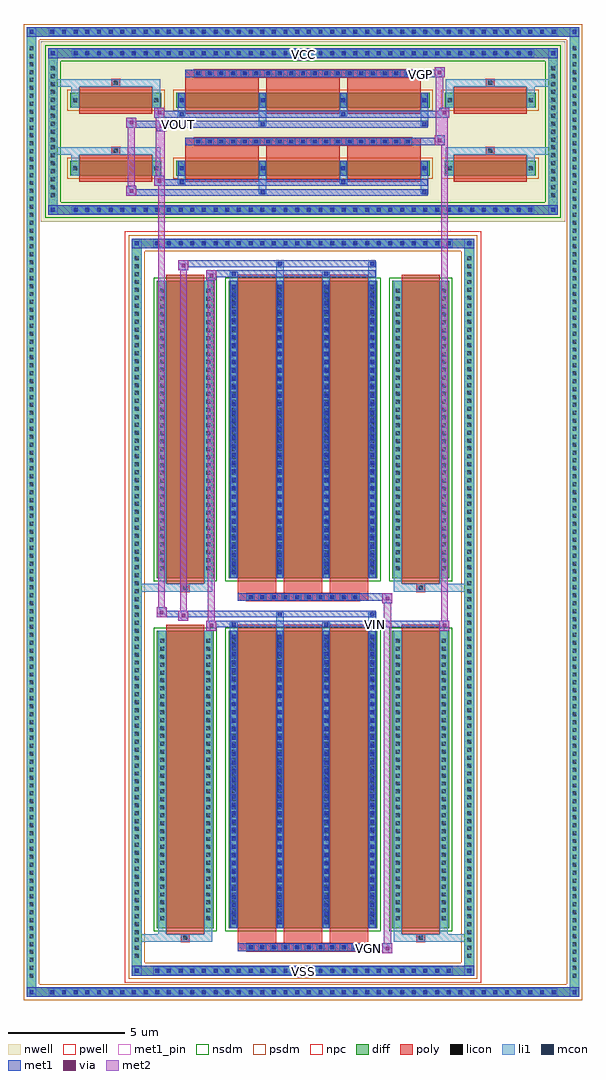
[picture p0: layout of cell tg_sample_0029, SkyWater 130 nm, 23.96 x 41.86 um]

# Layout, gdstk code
import gdstk
lib = gdstk.Library(unit=1e-6, precision=5e-09)
def R(c, l, rs):  # rectangles x0, y0, x1, y1
    for r in rs: c.add(gdstk.rectangle(r[:2], r[2:], *l))
def A(c, l, x, y, w, h, nx, ny, dx, dy):  # array of equal rectangles
    R(c, l, [(x+i*dx, y+j*dy, x+i*dx+w, y+j*dy+h) for i in range(nx) for j in range(ny)])
def P(c, l, *ps):  # polygons
    for p in ps: c.add(gdstk.Polygon(p, *l))
nwell = (64, 20)
pwell = (64, 44)
diff = (65, 20)
poly = (66, 20)
licon = (66, 44)
li1 = (67, 20)
mcon = (67, 44)
met1_pin = (68, 16)
met1 = (68, 20)
via = (68, 44)
met2 = (69, 20)
nsdm = (93, 44)
psdm = (94, 20)
npc = (95, 20)

tg_sample_0029 = lib.new_cell('tg_sample_0029')
R(tg_sample_0029, nwell, [(-11.24,16.515,11.24,24.265)])
R(tg_sample_0029, pwell, [(-7.645,-16.115,7.645,16.115)])
A(tg_sample_0029, diff, -10.955, -16.725, 0.41, 0.41, 44, 2, 0.5, 41.19)
A(tg_sample_0029, diff, -11.85, -16.02, 0.41, 0.41, 1, 118, 0, 0.34)
A(tg_sample_0029, diff, 11.44, -16.02, 0.41, 0.41, 1, 118, 0, 0.34)
A(tg_sample_0029, diff, -6.455, -15.805, 0.41, 0.41, 26, 2, 0.5, 31.2)
A(tg_sample_0029, diff, -7.335, -15.165, 0.41, 0.41, 1, 89, 0, 0.34)
A(tg_sample_0029, diff, 6.925, -15.165, 0.41, 0.41, 1, 89, 0, 0.34)
A(tg_sample_0029, diff, -9.955, 16.825, 0.41, 0.41, 40, 2, 0.5, 6.72)
A(tg_sample_0029, diff, -10.93, 17.465, 0.41, 0.41, 1, 17, 0, 0.34)
A(tg_sample_0029, diff, 10.52, 17.465, 0.41, 0.41, 1, 17, 0, 0.34)
R(tg_sample_0029, diff, [(-10.955,-16.725,10.955,-16.315), (-11.85,-16.02,-11.44,24.17), (11.44,-16.02,11.85,24.17), (-6.455,-15.805,6.455,-15.395), (-7.335,-15.165,-6.925,15.165), (6.925,-15.165,7.335,15.165), (-6.265,-13.78,-3.835,-1.02), (-3.195,-13.78,3.195,-1.02), (3.835,-13.78,6.265,-1.02), (-6.265,1.24,-3.835,14), (-3.195,1.24,3.195,14), (3.835,1.24,6.265,14), (-6.455,15.395,6.455,15.805), (-9.955,16.825,9.955,17.235), (-10.93,17.465,-10.52,23.315), (10.52,17.465,10.93,23.315), (-9.99,18.5,-6.07,19.14), (-5.43,18.5,5.43,19.14), (6.07,18.5,9.99,19.14), (-9.99,21.42,-6.07,22.06), (-5.43,21.42,5.43,22.06), (6.07,21.42,9.99,22.06), (-9.955,23.545,9.955,23.955), (-10.955,24.465,10.955,24.875)])
P(tg_sample_0029, diff, [(7.335,15.805),(-7.335,15.805),(-7.335,-15.395),(-6.925,-15.395),(-6.925,15.395),(6.925,15.395),(6.925,-15.395),(-6.925,-15.395),(-7.335,-15.395),(-7.335,-15.805),(7.335,-15.805)],
  [(11.85,24.875),(-11.85,24.875),(-11.85,-16.315),(-11.44,-16.315),(-11.44,24.465),(11.44,24.465),(11.44,-16.315),(-11.44,-16.315),(-11.85,-16.315),(-11.85,-16.725),(11.85,-16.725)],
  [(10.93,16.825),(-10.93,16.825),(-10.93,23.545),(-10.52,23.545),(-10.52,17.235),(10.52,17.235),(10.52,23.545),(-10.52,23.545),(-10.93,23.545),(-10.93,23.955),(10.93,23.955)])
A(tg_sample_0029, poly, -2.415, -14.76, 0.33, 0.33, 10, 2, 0.5, 15.02)
A(tg_sample_0029, poly, -2.805, -14.43, 1.65, 0.4, 3, 2, 1.98, 15.02)
A(tg_sample_0029, poly, -2.805, -14.03, 1.65, 13.26, 3, 2, 1.98, 15.02)
A(tg_sample_0029, poly, -5.04, 18.245, 3.14, 1.15, 3, 2, 3.47, 2.92)
A(tg_sample_0029, poly, -5.04, 19.395, 3.14, 0.405, 3, 2, 3.47, 2.92)
A(tg_sample_0029, poly, -4.665, 19.8, 0.33, 0.33, 19, 2, 0.5, 2.92)
R(tg_sample_0029, poly, [(-2.805,-14.76,2.805,-14.43), (-5.215,-14.36,-4.885,-14.03), (-5.215,-14.36,-4.885,-14.03), (4.885,-14.36,5.215,-14.03), (4.885,-14.36,5.215,-14.03), (-5.875,-14.03,-4.225,-0.77), (4.225,-14.03,5.875,-0.77), (-2.805,0.26,2.805,0.59), (-5.215,0.66,-4.885,0.99), (-5.215,0.66,-4.885,0.99), (4.885,0.66,5.215,0.99), (4.885,0.66,5.215,0.99), (-5.875,0.99,-4.225,14.25), (4.225,0.99,5.875,14.25), (-9.6,18.245,-6.46,19.395), (6.46,18.245,9.6,19.395), (-8.195,19.395,-7.865,19.725), (-8.195,19.395,-7.865,19.725), (7.865,19.395,8.195,19.725), (7.865,19.395,8.195,19.725), (-5.04,19.8,5.04,20.13), (-9.6,21.165,-6.46,22.315), (6.46,21.165,9.6,22.315), (-8.195,22.315,-7.865,22.645), (-8.195,22.315,-7.865,22.645), (7.865,22.315,8.195,22.645), (7.865,22.315,8.195,22.645), (-5.04,22.72,5.04,23.05)])
A(tg_sample_0029, licon, -10.835, -16.605, 0.17, 0.17, 44, 2, 0.5, 41.19)
A(tg_sample_0029, licon, -11.73, -15.9, 0.17, 0.17, 1, 118, 0, 0.34)
A(tg_sample_0029, licon, 11.56, -15.9, 0.17, 0.17, 1, 118, 0, 0.34)
A(tg_sample_0029, licon, -6.335, -15.685, 0.17, 0.17, 26, 2, 0.5, 31.2)
A(tg_sample_0029, licon, -7.215, -15.045, 0.17, 0.17, 1, 89, 0, 0.34)
A(tg_sample_0029, licon, 7.045, -15.045, 0.17, 0.17, 1, 89, 0, 0.34)
A(tg_sample_0029, licon, -2.335, -14.68, 0.17, 0.17, 10, 2, 0.5, 15.02)
A(tg_sample_0029, licon, -6.125, -13.435, 0.17, 0.17, 1, 36, 0, 0.34)
A(tg_sample_0029, licon, -4.145, -13.435, 0.17, 0.17, 1, 36, 0, 0.34)
A(tg_sample_0029, licon, -3.055, -13.435, 0.17, 0.17, 4, 36, 1.98, 0.34)
A(tg_sample_0029, licon, 3.975, -13.435, 0.17, 0.17, 1, 36, 0, 0.34)
A(tg_sample_0029, licon, 5.955, -13.435, 0.17, 0.17, 1, 36, 0, 0.34)
A(tg_sample_0029, licon, -6.125, 1.585, 0.17, 0.17, 1, 36, 0, 0.34)
A(tg_sample_0029, licon, -4.145, 1.585, 0.17, 0.17, 1, 36, 0, 0.34)
A(tg_sample_0029, licon, -3.055, 1.585, 0.17, 0.17, 4, 36, 1.98, 0.34)
A(tg_sample_0029, licon, 3.975, 1.585, 0.17, 0.17, 1, 36, 0, 0.34)
A(tg_sample_0029, licon, 5.955, 1.585, 0.17, 0.17, 1, 36, 0, 0.34)
A(tg_sample_0029, licon, -9.835, 16.945, 0.17, 0.17, 40, 2, 0.5, 6.72)
A(tg_sample_0029, licon, -10.81, 17.585, 0.17, 0.17, 1, 17, 0, 0.34)
A(tg_sample_0029, licon, 10.64, 17.585, 0.17, 0.17, 1, 17, 0, 0.34)
A(tg_sample_0029, licon, -5.29, 18.735, 0.17, 0.17, 4, 2, 3.47, 2.92)
A(tg_sample_0029, licon, -4.585, 19.88, 0.17, 0.17, 19, 2, 0.5, 2.92)
R(tg_sample_0029, licon, [(-5.135,-14.28,-4.965,-14.11), (4.965,-14.28,5.135,-14.11), (-5.135,0.74,-4.965,0.91), (4.965,0.74,5.135,0.91), (-9.85,18.735,-9.68,18.905), (-6.38,18.735,-6.21,18.905), (6.21,18.735,6.38,18.905), (9.68,18.735,9.85,18.905), (-8.115,19.475,-7.945,19.645), (7.945,19.475,8.115,19.645), (-9.85,21.655,-9.68,21.825), (-6.38,21.655,-6.21,21.825), (6.21,21.655,6.38,21.825), (9.68,21.655,9.85,21.825), (-8.115,22.395,-7.945,22.565), (7.945,22.395,8.115,22.565)])
A(tg_sample_0029, li1, -10.915, -16.685, 0.33, 0.33, 44, 2, 0.5, 41.19)
A(tg_sample_0029, li1, -11.81, -15.98, 0.33, 0.33, 1, 118, 0, 0.34)
A(tg_sample_0029, li1, 11.48, -15.98, 0.33, 0.33, 1, 118, 0, 0.34)
A(tg_sample_0029, li1, -6.415, -15.765, 0.33, 0.33, 26, 2, 0.5, 31.2)
A(tg_sample_0029, li1, -7.295, -15.125, 0.33, 0.33, 1, 89, 0, 0.34)
A(tg_sample_0029, li1, 6.965, -15.125, 0.33, 0.33, 1, 89, 0, 0.34)
A(tg_sample_0029, li1, -2.415, -14.76, 0.33, 0.33, 10, 2, 0.5, 15.02)
A(tg_sample_0029, li1, -3.135, -13.78, 0.33, 12.76, 4, 2, 1.98, 15.02)
A(tg_sample_0029, li1, -3.055, -13.605, 0.17, 0.17, 4, 35, 1.98, 0.36)
A(tg_sample_0029, li1, -3.055, -13.605, 0.17, 12.41, 4, 2, 1.98, 15.02)
A(tg_sample_0029, li1, -6.205, -13.515, 0.33, 0.33, 1, 36, 0, 0.34)
A(tg_sample_0029, li1, -4.225, -13.515, 0.33, 0.33, 1, 36, 0, 0.34)
A(tg_sample_0029, li1, -3.135, -13.515, 0.33, 0.33, 4, 36, 1.98, 0.34)
A(tg_sample_0029, li1, 3.895, -13.515, 0.33, 0.33, 1, 36, 0, 0.34)
A(tg_sample_0029, li1, 5.875, -13.515, 0.33, 0.33, 1, 36, 0, 0.34)
A(tg_sample_0029, li1, -3.055, 1.415, 0.17, 0.17, 4, 35, 1.98, 0.36)
A(tg_sample_0029, li1, -6.205, 1.505, 0.33, 0.33, 1, 36, 0, 0.34)
A(tg_sample_0029, li1, -4.225, 1.505, 0.33, 0.33, 1, 36, 0, 0.34)
A(tg_sample_0029, li1, -3.135, 1.505, 0.33, 0.33, 4, 36, 1.98, 0.34)
A(tg_sample_0029, li1, 3.895, 1.505, 0.33, 0.33, 1, 36, 0, 0.34)
A(tg_sample_0029, li1, 5.875, 1.505, 0.33, 0.33, 1, 36, 0, 0.34)
A(tg_sample_0029, li1, -9.915, 16.865, 0.33, 0.33, 40, 2, 0.5, 6.72)
A(tg_sample_0029, li1, -10.89, 17.505, 0.33, 0.33, 1, 17, 0, 0.34)
A(tg_sample_0029, li1, 10.56, 17.505, 0.33, 0.33, 1, 17, 0, 0.34)
A(tg_sample_0029, li1, -5.37, 18.5, 0.33, 0.64, 4, 2, 3.47, 2.92)
A(tg_sample_0029, li1, -5.37, 18.655, 0.33, 0.33, 4, 2, 3.47, 2.92)
A(tg_sample_0029, li1, -4.665, 19.8, 0.33, 0.33, 19, 2, 0.5, 2.92)
R(tg_sample_0029, li1, [(-11.85,-16.725,-11.44,-16.315), (11.44,-16.725,11.85,-16.315), (-10.915,-16.685,10.915,-16.355), (-11.73,-16.605,-11.56,-16.435), (-11.73,-16.605,-11.56,-16.435), (11.56,-16.605,11.73,-16.435), (11.56,-16.605,11.73,-16.435), (-11.85,-16.315,-11.44,24.465), (11.44,-16.315,11.85,24.465), (-7.335,-15.805,-6.925,-15.395), (6.925,-15.805,7.335,-15.395), (-6.415,-15.765,6.415,-15.435), (-7.215,-15.685,-7.045,-15.515), (-7.215,-15.685,-7.045,-15.515), (7.045,-15.685,7.215,-15.515), (7.045,-15.685,7.215,-15.515), (-7.335,-15.395,-6.925,15.395), (6.925,-15.395,7.335,15.395), (-7.335,-14.36,-5.215,-14.03), (-6.205,-14.36,-5.215,-14.03), (-6.205,-14.36,-5.875,-13.78), (-5.215,-14.36,-4.885,-14.03), (-4.885,-14.36,-3.895,-14.03), (-4.225,-14.36,-3.895,-13.78), (3.895,-14.36,4.885,-14.03), (3.895,-14.36,4.225,-13.78), (4.885,-14.36,5.215,-14.03), (4.885,-14.36,7.335,-14.03), (5.215,-14.36,6.205,-14.03), (5.875,-14.36,6.205,-13.78), (-6.205,-13.78,-5.875,-1.02), (-4.225,-13.78,-3.895,-1.02), (3.895,-13.78,4.225,-1.02), (5.875,-13.78,6.205,-1.02), (-3.135,-1.02,-2.805,-0.645), (-1.155,-1.02,-0.825,-0.215), (0.825,-1.02,1.155,-0.645), (2.805,-1.02,3.135,-0.215), (-3.055,-0.815,-2.885,-0.645), (0.905,-0.815,1.075,-0.645), (-1.075,-0.385,-0.905,-0.215), (2.885,-0.385,3.055,-0.215), (-7.335,0.66,-5.215,0.99), (-6.205,0.66,-5.215,0.99), (-6.205,0.66,-5.875,1.24), (-5.215,0.66,-4.885,0.99), (-4.885,0.66,-3.895,0.99), (-4.225,0.66,-3.895,1.24), (3.895,0.66,4.885,0.99), (3.895,0.66,4.225,1.24), (4.885,0.66,5.215,0.99), (4.885,0.66,7.335,0.99), (5.215,0.66,6.205,0.99), (5.875,0.66,6.205,1.24), (-6.205,1.24,-5.875,14), (-4.225,1.24,-3.895,14), (3.895,1.24,4.225,14), (5.875,1.24,6.205,14), (-3.135,14,-2.805,14.375), (-1.155,14,-0.825,14.805), (0.825,14,1.155,14.375), (2.805,14,3.135,14.805), (-3.055,14.205,-2.885,14.375), (0.905,14.205,1.075,14.375), (-1.075,14.635,-0.905,14.805), (2.885,14.635,3.055,14.805), (-7.335,15.395,-6.925,15.805), (6.925,15.395,7.335,15.805), (-6.415,15.435,6.415,15.765), (-7.215,15.515,-7.045,15.685), (-7.215,15.515,-7.045,15.685), (7.045,15.515,7.215,15.685), (7.045,15.515,7.215,15.685), (-10.93,16.825,-10.52,17.235), (10.52,16.825,10.93,17.235), (-9.915,16.865,9.915,17.195), (-10.81,16.945,-10.64,17.115), (-10.81,16.945,-10.64,17.115), (10.64,16.945,10.81,17.115), (10.64,16.945,10.81,17.115), (-10.93,17.235,-10.52,23.545), (10.52,17.235,10.93,23.545), (-1.9,17.695,-1.57,18.5), (-1.82,17.695,-1.65,17.865), (5.04,17.695,5.37,18.5), (5.12,17.695,5.29,17.865), (-5.37,18.125,-5.04,18.5), (-5.29,18.125,-5.12,18.295), (1.57,18.125,1.9,18.5), (1.65,18.125,1.82,18.295), (-9.93,18.5,-9.6,19.14), (-6.46,18.5,-6.13,19.14), (6.13,18.5,6.46,19.14), (9.6,18.5,9.93,19.14), (-9.93,18.655,-9.6,18.985), (-6.46,18.655,-6.13,18.985), (6.13,18.655,6.46,18.985), (9.6,18.655,9.93,18.985), (-5.29,18.735,-5.12,18.905), (-5.29,18.735,-5.12,18.905), (-1.82,18.735,-1.65,18.905), (-1.82,18.735,-1.65,18.905), (1.65,18.735,1.82,18.905), (1.65,18.735,1.82,18.905), (5.12,18.735,5.29,18.905), (5.12,18.735,5.29,18.905), (-9.93,19.14,-9.6,19.725), (-6.46,19.14,-6.13,19.725), (6.13,19.14,6.46,19.725), (9.6,19.14,9.93,19.725), (-10.93,19.395,-8.195,19.725), (-9.93,19.395,-8.195,19.725), (-8.195,19.395,-7.865,19.725), (-7.865,19.395,-6.13,19.725), (6.13,19.395,7.865,19.725), (7.865,19.395,8.195,19.725), (7.865,19.395,10.93,19.725), (8.195,19.395,9.93,19.725), (-1.9,20.615,-1.57,21.42), (-1.82,20.615,-1.65,20.785), (5.04,20.615,5.37,21.42), (5.12,20.615,5.29,20.785), (-5.37,21.045,-5.04,21.42), (-5.29,21.045,-5.12,21.215), (1.57,21.045,1.9,21.42), (1.65,21.045,1.82,21.215), (-9.93,21.42,-9.6,22.06), (-6.46,21.42,-6.13,22.06), (6.13,21.42,6.46,22.06), (9.6,21.42,9.93,22.06), (-9.93,21.575,-9.6,21.905), (-6.46,21.575,-6.13,21.905), (6.13,21.575,6.46,21.905), (9.6,21.575,9.93,21.905), (-5.29,21.655,-5.12,21.825), (-5.29,21.655,-5.12,21.825), (-1.82,21.655,-1.65,21.825), (-1.82,21.655,-1.65,21.825), (1.65,21.655,1.82,21.825), (1.65,21.655,1.82,21.825), (5.12,21.655,5.29,21.825), (5.12,21.655,5.29,21.825), (-9.93,22.06,-9.6,22.645), (-6.46,22.06,-6.13,22.645), (6.13,22.06,6.46,22.645), (9.6,22.06,9.93,22.645), (-10.93,22.315,-8.195,22.645), (-9.93,22.315,-8.195,22.645), (-8.195,22.315,-7.865,22.645), (-7.865,22.315,-6.13,22.645), (6.13,22.315,7.865,22.645), (7.865,22.315,8.195,22.645), (7.865,22.315,10.93,22.645), (8.195,22.315,9.93,22.645), (-10.93,23.545,-10.52,23.955), (10.52,23.545,10.93,23.955), (-9.915,23.585,9.915,23.915), (-10.81,23.665,-10.64,23.835), (-10.81,23.665,-10.64,23.835), (10.64,23.665,10.81,23.835), (10.64,23.665,10.81,23.835), (-11.85,24.465,-11.44,24.875), (11.44,24.465,11.85,24.875), (-10.915,24.505,10.915,24.835), (-11.73,24.585,-11.56,24.755), (-11.73,24.585,-11.56,24.755), (11.56,24.585,11.73,24.755), (11.56,24.585,11.73,24.755)])
A(tg_sample_0029, mcon, -10.835, -16.605, 0.17, 0.17, 44, 2, 0.5, 41.19)
A(tg_sample_0029, mcon, -6.335, -15.685, 0.17, 0.17, 26, 2, 0.5, 31.2)
A(tg_sample_0029, mcon, -2.335, -14.68, 0.17, 0.17, 10, 2, 0.5, 15.02)
A(tg_sample_0029, mcon, -3.055, -13.605, 0.17, 0.17, 4, 35, 1.98, 0.36)
A(tg_sample_0029, mcon, -3.055, 1.415, 0.17, 0.17, 4, 35, 1.98, 0.36)
A(tg_sample_0029, mcon, -9.835, 16.945, 0.17, 0.17, 40, 2, 0.5, 6.72)
A(tg_sample_0029, mcon, -5.29, 18.735, 0.17, 0.17, 4, 2, 3.47, 2.92)
A(tg_sample_0029, mcon, -4.585, 19.88, 0.17, 0.17, 19, 2, 0.5, 2.92)
R(tg_sample_0029, mcon, [(-11.73,-16.605,-11.56,-16.435), (11.56,-16.605,11.73,-16.435), (-7.215,-15.685,-7.045,-15.515), (7.045,-15.685,7.215,-15.515), (-3.055,-0.815,-2.885,-0.645), (0.905,-0.815,1.075,-0.645), (-1.075,-0.385,-0.905,-0.215), (2.885,-0.385,3.055,-0.215), (-3.055,14.205,-2.885,14.375), (0.905,14.205,1.075,14.375), (-1.075,14.635,-0.905,14.805), (2.885,14.635,3.055,14.805), (-7.215,15.515,-7.045,15.685), (7.045,15.515,7.215,15.685), (-10.81,16.945,-10.64,17.115), (10.64,16.945,10.81,17.115), (-1.82,17.695,-1.65,17.865), (5.12,17.695,5.29,17.865), (-5.29,18.125,-5.12,18.295), (1.65,18.125,1.82,18.295), (-1.82,20.615,-1.65,20.785), (5.12,20.615,5.29,20.785), (-5.29,21.045,-5.12,21.215), (1.65,21.045,1.82,21.215), (-10.81,23.665,-10.64,23.835), (10.64,23.665,10.81,23.835), (-11.73,24.585,-11.56,24.755), (11.56,24.585,11.73,24.755)])
R(tg_sample_0029, met1_pin, [(-0.25,-15.895,0.25,-15.395), (2.67,-14.76,2.94,-14.49), (2.98,-0.875,3.25,-0.605), (-5.485,20.555,-5.215,20.825), (4.905,22.72,5.175,22.99), (-0.25,23.455,0.25,23.955)])
A(tg_sample_0029, met1, -10.895, -16.665, 0.29, 0.29, 44, 2, 0.5, 41.19)
A(tg_sample_0029, met1, -6.395, -15.745, 0.29, 0.29, 26, 2, 0.5, 31.2)
A(tg_sample_0029, met1, -2.395, -14.74, 0.29, 0.29, 10, 2, 0.5, 15.02)
A(tg_sample_0029, met1, -3.115, -13.78, 0.29, 12.76, 4, 2, 1.98, 15.02)
A(tg_sample_0029, met1, -3.115, -13.665, 0.29, 0.29, 4, 35, 1.98, 0.36)
A(tg_sample_0029, met1, -3.115, 1.355, 0.29, 0.29, 4, 35, 1.98, 0.36)
A(tg_sample_0029, met1, -9.895, 16.885, 0.29, 0.29, 40, 2, 0.5, 6.72)
A(tg_sample_0029, met1, -5.35, 18.5, 0.29, 0.64, 4, 2, 3.47, 2.92)
A(tg_sample_0029, met1, -5.35, 18.675, 0.29, 0.29, 4, 2, 3.47, 2.92)
A(tg_sample_0029, met1, -4.645, 19.82, 0.29, 0.29, 19, 2, 0.5, 2.92)
R(tg_sample_0029, met1, [(-11.85,-16.725,-11.44,-16.315), (-11.85,-16.725,-11.44,-16.315), (-11.44,-16.725,11.44,-16.315), (11.44,-16.725,11.85,-16.315), (11.44,-16.725,11.85,-16.315), (-11.79,-16.665,-11.5,-16.375), (11.5,-16.665,11.79,-16.375), (-7.335,-15.805,-6.925,-15.395), (-7.335,-15.805,-6.925,-15.395), (-6.925,-15.805,6.925,-15.395), (6.925,-15.805,7.335,-15.395), (6.925,-15.805,7.335,-15.395), (-7.275,-15.745,-6.985,-15.455), (6.985,-15.745,7.275,-15.455), (3.405,-14.86,3.835,-14.43), (-2.805,-14.76,2.805,-14.43), (2.805,-14.76,3.835,-14.43), (-4.145,-1.015,-3.715,-0.585), (5.85,-1.015,6.28,-0.585), (-4.145,-0.875,-3.115,-0.585), (-3.115,-0.875,-2.825,-0.585), (-3.115,-0.875,3.115,-0.585), (0.845,-0.875,1.135,-0.585), (3.115,-0.875,6.28,-0.585), (-5.345,-0.585,-4.915,-0.155), (-6.28,-0.445,-5.85,-0.015), (-6.28,-0.445,-3.115,-0.155), (-5.345,-0.445,-3.115,-0.155), (-3.115,-0.445,3.115,-0.155), (-1.135,-0.445,-0.845,-0.155), (2.825,-0.445,3.115,-0.155), (3.405,0.16,3.835,0.59), (-2.805,0.26,2.805,0.59), (2.805,0.26,3.835,0.59), (-4.145,14.005,-3.715,14.435), (-4.145,14.145,-3.115,14.435), (-3.115,14.145,-2.825,14.435), (-3.115,14.145,3.115,14.435), (0.845,14.145,1.135,14.435), (-5.345,14.435,-4.915,14.865), (-5.345,14.575,-3.115,14.865), (-3.115,14.575,3.115,14.865), (-1.135,14.575,-0.845,14.865), (2.825,14.575,3.115,14.865), (-7.335,15.395,-6.925,15.805), (-7.335,15.395,-6.925,15.805), (-6.925,15.395,6.925,15.805), (6.925,15.395,7.335,15.805), (6.925,15.395,7.335,15.805), (-7.275,15.455,-6.985,15.745), (6.985,15.455,7.275,15.745), (-10.93,16.825,-10.52,17.235), (-10.93,16.825,-10.52,17.235), (-10.52,16.825,10.52,17.235), (10.52,16.825,10.93,17.235), (10.52,16.825,10.93,17.235), (-10.87,16.885,-10.58,17.175), (10.58,16.885,10.87,17.175), (-7.58,17.635,-7.15,18.065), (-7.58,17.635,-5.35,17.925), (-5.35,17.635,5.35,17.925), (-1.88,17.635,-1.59,17.925), (5.06,17.635,5.35,17.925), (-6.38,18.065,-5.95,18.495), (-6.38,18.065,-5.35,18.355), (-5.35,18.065,-5.06,18.355), (-5.35,18.065,5.35,18.355), (1.59,18.065,1.88,18.355), (-5.04,19.8,5.04,20.13), (5.04,19.8,6.07,20.13), (5.64,19.8,6.07,20.23), (-6.28,20.415,-5.85,20.845), (-7.58,20.555,-7.15,20.985), (-7.58,20.555,-5.35,20.845), (-6.28,20.555,-5.35,20.845), (-5.35,20.555,5.35,20.845), (-1.88,20.555,-1.59,20.845), (5.06,20.555,5.35,20.845), (-6.38,20.985,-5.95,21.415), (-6.38,20.985,-5.35,21.275), (-5.35,20.985,-5.06,21.275), (-5.35,20.985,5.35,21.275), (1.59,20.985,1.88,21.275), (5.35,20.985,6.28,21.275), (5.85,20.985,6.28,21.415), (-5.04,22.72,5.04,23.05), (5.04,22.72,6.07,23.05), (5.64,22.72,6.07,23.15), (-10.93,23.545,-10.52,23.955), (-10.93,23.545,-10.52,23.955), (-10.52,23.545,10.52,23.955), (10.52,23.545,10.93,23.955), (10.52,23.545,10.93,23.955), (-10.87,23.605,-10.58,23.895), (10.58,23.605,10.87,23.895), (-11.85,24.465,-11.44,24.875), (-11.85,24.465,-11.44,24.875), (-11.44,24.465,11.44,24.875), (11.44,24.465,11.85,24.875), (11.44,24.465,11.85,24.875), (-11.79,24.525,-11.5,24.815), (11.5,24.525,11.79,24.815)])
R(tg_sample_0029, via, [(3.545,-14.72,3.695,-14.57), (-4.005,-0.875,-3.855,-0.725), (5.99,-0.875,6.14,-0.725), (-5.205,-0.445,-5.055,-0.295), (-6.14,-0.305,-5.99,-0.155), (3.545,0.3,3.695,0.45), (-4.005,14.145,-3.855,14.295), (-5.205,14.575,-5.055,14.725), (-7.44,17.775,-7.29,17.925), (-6.24,18.205,-6.09,18.355), (5.78,19.94,5.93,20.09), (-6.14,20.555,-5.99,20.705), (-7.44,20.695,-7.29,20.845), (-6.24,21.125,-6.09,21.275), (5.99,21.125,6.14,21.275), (5.78,22.86,5.93,23.01)])
R(tg_sample_0029, met2, [(3.405,-14.86,3.835,-14.43), (3.455,-14.86,3.785,0.59), (3.785,-14.86,3.835,-14.43), (3.455,-14.81,3.785,-14.48), (-4.145,-1.015,-3.715,-0.585), (-4.075,-1.015,-3.785,14.435), (-3.785,-1.015,-3.715,-0.585), (5.85,-1.015,6.28,-0.585), (5.92,-1.015,6.21,21.415), (6.21,-1.015,6.28,-0.585), (-4.095,-0.965,-3.765,-0.635), (5.9,-0.965,6.23,-0.635), (-5.345,-0.585,-4.915,-0.155), (-5.275,-0.585,-4.985,14.865), (-4.985,-0.585,-4.915,-0.155), (-5.295,-0.535,-4.965,-0.205), (-6.28,-0.445,-5.85,-0.015), (-6.21,-0.445,-5.92,20.845), (-5.92,-0.445,-5.85,-0.015), (-6.23,-0.395,-5.9,-0.065), (3.405,0.16,3.835,0.59), (3.785,0.16,3.835,0.59), (3.455,0.21,3.785,0.54), (-4.145,14.005,-3.715,14.435), (-3.785,14.005,-3.715,14.435), (-4.095,14.055,-3.765,14.385), (-5.345,14.435,-4.915,14.865), (-4.985,14.435,-4.915,14.865), (-5.295,14.485,-4.965,14.815), (-7.58,17.635,-7.15,18.065), (-7.51,17.635,-7.22,20.985), (-7.22,17.635,-7.15,18.065), (-7.53,17.685,-7.2,18.015), (-6.38,18.065,-5.95,18.495), (-6.31,18.065,-6.02,21.415), (-6.02,18.065,-5.95,18.495), (-6.33,18.115,-6,18.445), (5.64,19.8,6.07,20.23), (5.69,19.8,6.02,23.15), (6.02,19.8,6.07,20.23), (5.69,19.85,6.02,20.18), (-6.28,20.415,-5.85,20.845), (-5.92,20.415,-5.85,20.845), (-6.23,20.465,-5.9,20.795), (-7.58,20.555,-7.15,20.985), (-7.22,20.555,-7.15,20.985), (-7.53,20.605,-7.2,20.935), (-6.38,20.985,-5.95,21.415), (-6.02,20.985,-5.95,21.415), (5.85,20.985,6.28,21.415), (6.21,20.985,6.28,21.415), (-6.33,21.035,-6,21.365), (5.9,21.035,6.23,21.365), (5.64,22.72,6.07,23.15), (6.02,22.72,6.07,23.15), (5.69,22.77,6.02,23.1)])
R(tg_sample_0029, nsdm, [(-6.395,-13.91,-3.705,-0.89), (-3.325,-13.91,3.325,-0.89), (3.705,-13.91,6.395,-0.89), (-6.395,1.11,-3.705,14.13), (-3.325,1.11,3.325,14.13), (3.705,1.11,6.395,14.13)])
P(tg_sample_0029, nsdm, [(11.06,16.695),(-11.06,16.695),(-11.06,23.415),(-10.39,23.415),(-10.39,17.365),(10.39,17.365),(10.39,23.415),(-10.39,23.415),(-11.06,23.415),(-11.06,24.085),(11.06,24.085)])
R(tg_sample_0029, psdm, [(-10.12,18.37,-5.94,19.27), (-5.56,18.37,5.56,19.27), (5.94,18.37,10.12,19.27), (-10.12,21.29,-5.94,22.19), (-5.56,21.29,5.56,22.19), (5.94,21.29,10.12,22.19)])
P(tg_sample_0029, psdm, [(7.465,15.935),(-7.465,15.935),(-7.465,-15.265),(-6.795,-15.265),(-6.795,15.265),(6.795,15.265),(6.795,-15.265),(-6.795,-15.265),(-7.465,-15.265),(-7.465,-15.935),(7.465,-15.935)],
  [(11.98,25.005),(-11.98,25.005),(-11.98,-16.185),(-11.31,-16.185),(-11.31,24.335),(11.31,24.335),(11.31,-16.185),(-11.31,-16.185),(-11.98,-16.185),(-11.98,-16.855),(11.98,-16.855)])
A(tg_sample_0029, npc, -2.435, -14.78, 0.37, 0.37, 10, 2, 0.5, 15.02)
A(tg_sample_0029, npc, -4.685, 19.78, 0.37, 0.37, 19, 2, 0.5, 2.92)
R(tg_sample_0029, npc, [(-2.435,-14.78,-1.565,-14.41), (-2.435,-14.78,-1.565,-14.41), (-1.935,-14.78,-1.065,-14.41), (-1.935,-14.78,-1.065,-14.41), (-1.435,-14.78,-0.565,-14.41), (-1.435,-14.78,-0.565,-14.41), (-0.935,-14.78,-0.065,-14.41), (-0.935,-14.78,-0.065,-14.41), (-0.435,-14.78,0.435,-14.41), (-0.435,-14.78,0.435,-14.41), (0.065,-14.78,0.935,-14.41), (0.065,-14.78,0.935,-14.41), (0.565,-14.78,1.435,-14.41), (0.565,-14.78,1.435,-14.41), (1.065,-14.78,1.935,-14.41), (1.065,-14.78,1.935,-14.41), (1.565,-14.78,2.435,-14.41), (1.565,-14.78,2.435,-14.41), (-5.235,-14.38,-4.865,-14.01), (4.865,-14.38,5.235,-14.01), (-2.435,0.24,-1.565,0.61), (-2.435,0.24,-1.565,0.61), (-1.935,0.24,-1.065,0.61), (-1.935,0.24,-1.065,0.61), (-1.435,0.24,-0.565,0.61), (-1.435,0.24,-0.565,0.61), (-0.935,0.24,-0.065,0.61), (-0.935,0.24,-0.065,0.61), (-0.435,0.24,0.435,0.61), (-0.435,0.24,0.435,0.61), (0.065,0.24,0.935,0.61), (0.065,0.24,0.935,0.61), (0.565,0.24,1.435,0.61), (0.565,0.24,1.435,0.61), (1.065,0.24,1.935,0.61), (1.065,0.24,1.935,0.61), (1.565,0.24,2.435,0.61), (1.565,0.24,2.435,0.61), (-5.235,0.64,-4.865,1.01), (4.865,0.64,5.235,1.01), (-8.215,19.375,-7.845,19.745), (7.845,19.375,8.215,19.745), (-4.685,19.78,-3.815,20.15), (-4.685,19.78,-3.815,20.15), (-4.185,19.78,-3.315,20.15), (-4.185,19.78,-3.315,20.15), (-3.685,19.78,-2.815,20.15), (-3.685,19.78,-2.815,20.15), (-3.185,19.78,-2.315,20.15), (-3.185,19.78,-2.315,20.15), (-2.685,19.78,-1.815,20.15), (-2.685,19.78,-1.815,20.15), (-2.185,19.78,-1.315,20.15), (-2.185,19.78,-1.315,20.15), (-1.685,19.78,-0.815,20.15), (-1.685,19.78,-0.815,20.15), (-1.185,19.78,-0.315,20.15), (-1.185,19.78,-0.315,20.15), (-0.685,19.78,0.185,20.15), (-0.685,19.78,0.185,20.15), (-0.185,19.78,0.685,20.15), (-0.185,19.78,0.685,20.15), (0.315,19.78,1.185,20.15), (0.315,19.78,1.185,20.15), (0.815,19.78,1.685,20.15), (0.815,19.78,1.685,20.15), (1.315,19.78,2.185,20.15), (1.315,19.78,2.185,20.15), (1.815,19.78,2.685,20.15), (1.815,19.78,2.685,20.15), (2.315,19.78,3.185,20.15), (2.315,19.78,3.185,20.15), (2.815,19.78,3.685,20.15), (2.815,19.78,3.685,20.15), (3.315,19.78,4.185,20.15), (3.315,19.78,4.185,20.15), (3.815,19.78,4.685,20.15), (3.815,19.78,4.685,20.15), (-8.215,22.295,-7.845,22.665), (7.845,22.295,8.215,22.665), (-4.685,22.7,-3.815,23.07), (-4.685,22.7,-3.815,23.07), (-4.185,22.7,-3.315,23.07), (-4.185,22.7,-3.315,23.07), (-3.685,22.7,-2.815,23.07), (-3.685,22.7,-2.815,23.07), (-3.185,22.7,-2.315,23.07), (-3.185,22.7,-2.315,23.07), (-2.685,22.7,-1.815,23.07), (-2.685,22.7,-1.815,23.07), (-2.185,22.7,-1.315,23.07), (-2.185,22.7,-1.315,23.07), (-1.685,22.7,-0.815,23.07), (-1.685,22.7,-0.815,23.07), (-1.185,22.7,-0.315,23.07), (-1.185,22.7,-0.315,23.07), (-0.685,22.7,0.185,23.07), (-0.685,22.7,0.185,23.07), (-0.185,22.7,0.685,23.07), (-0.185,22.7,0.685,23.07), (0.315,22.7,1.185,23.07), (0.315,22.7,1.185,23.07), (0.815,22.7,1.685,23.07), (0.815,22.7,1.685,23.07), (1.315,22.7,2.185,23.07), (1.315,22.7,2.185,23.07), (1.815,22.7,2.685,23.07), (1.815,22.7,2.685,23.07), (2.315,22.7,3.185,23.07), (2.315,22.7,3.185,23.07), (2.815,22.7,3.685,23.07), (2.815,22.7,3.685,23.07), (3.315,22.7,4.185,23.07), (3.315,22.7,4.185,23.07), (3.815,22.7,4.685,23.07), (3.815,22.7,4.685,23.07)])
tg_sample_0029.add(gdstk.Label('VIN', (3.115,-0.74), layer=68, texttype=5))
tg_sample_0029.add(gdstk.Label('VGN', (2.805,-14.625), layer=68, texttype=5))
tg_sample_0029.add(gdstk.Label('VGP', (5.04,22.855), layer=68, texttype=5))
tg_sample_0029.add(gdstk.Label('VSS', (0,-15.645), layer=68, texttype=5))
tg_sample_0029.add(gdstk.Label('VCC', (0,23.705), layer=68, texttype=5))
tg_sample_0029.add(gdstk.Label('VOUT', (-5.35,20.69), layer=68, texttype=5))

lib.write_gds('tg_sample_0029.gds')
